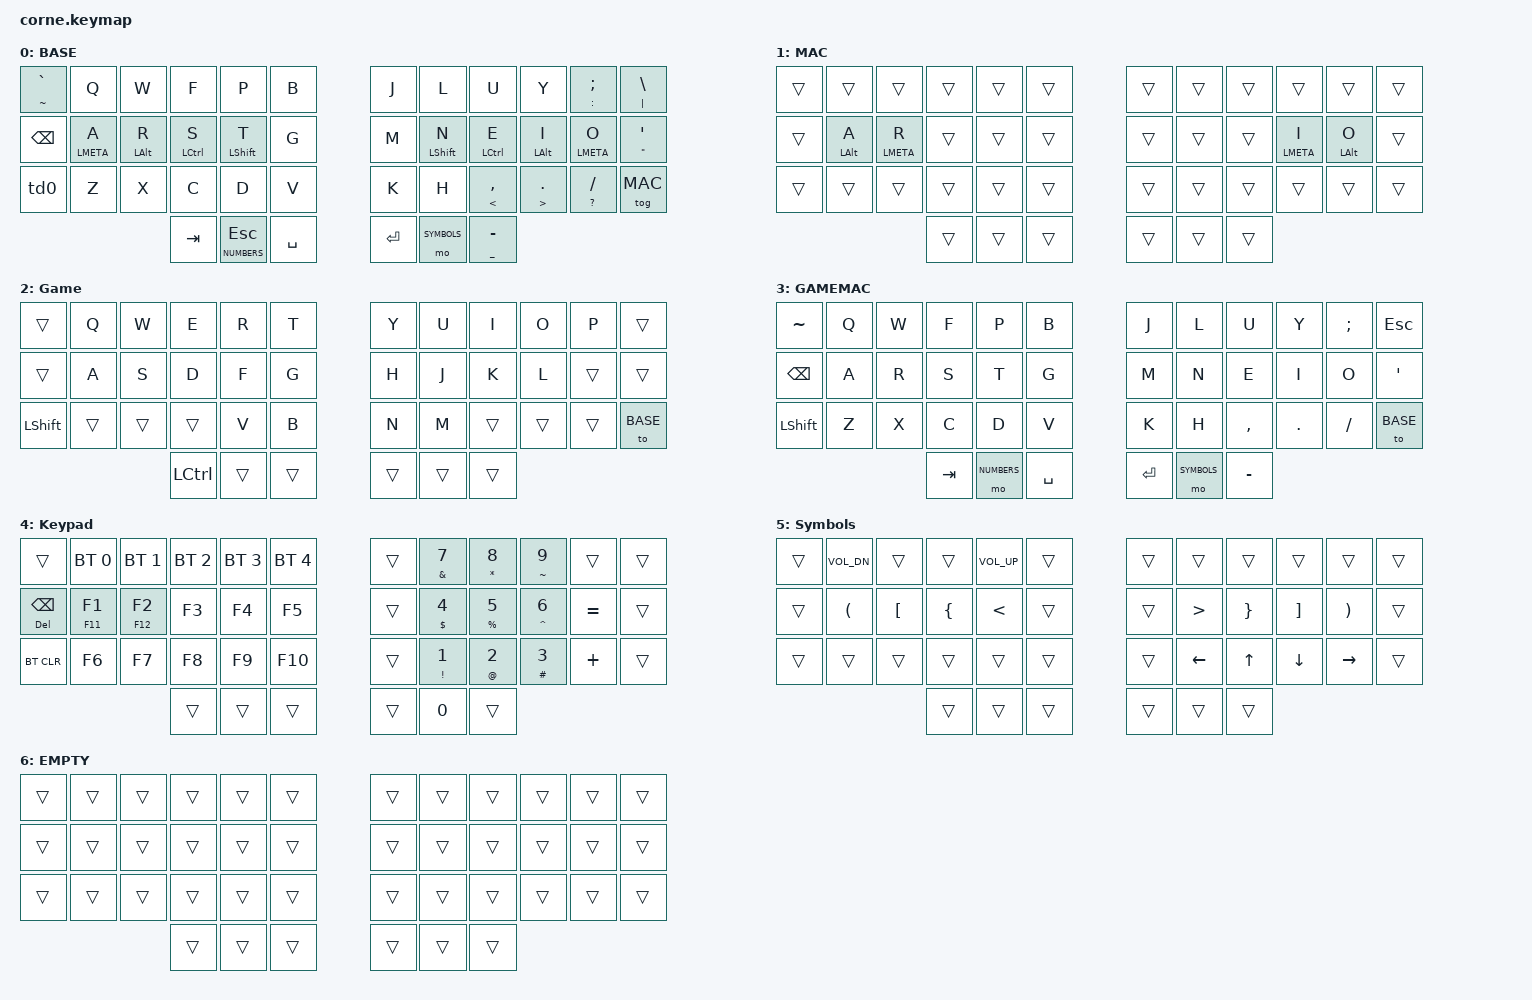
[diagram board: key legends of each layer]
/*
 * Copyright (c) 2020 The ZMK Contributors
 *
 * SPDX-License-Identifier: MIT
 */

#include <behaviors.dtsi>
#include <dt-bindings/zmk/keys.h>
#include <dt-bindings/zmk/bt.h>
#include <dt-bindings/zmk/behaviors.h>

// Define Layers
#define BASE 0
#define MAC 1
#define GAME 2
#define GAMEMAC 3
#define NUMBERS 4
#define SYMBOLS 5


/ {
    behaviors {
        mt: mod_tap {
            compatible = "zmk,behavior-hold-tap";
            #binding-cells = <2>;
            flavor = "balanced";
            tapping-term-ms = <200>;
            bindings = <&kp>, <&kp>;
            display-name = "Mod-Tap";
        };
        lt: layer_tap {
            compatible = "zmk,behavior-hold-tap";
            #binding-cells = <2>;
            flavor = "tap-preferred";
            tapping-term-ms = <200>;
            bindings = <&mo>, <&kp>;
            display-name = "Layer-Tap";
        };
        td0: tap_dance_0 {
            compatible = "zmk,behavior-tap-dance";
            #binding-cells = <0>;
            tapping-term-ms = <200>;
            bindings = <&to GAME>, <&to GAMEMAC>;
        };
    };
};

/ {
        keymap {
                compatible = "zmk,keymap";

                default_layer { // 0
// -----------------------------------------------------------------------------------------
// | GRAVE TILDE |  Q        |  W     |  F       |  P        |  B  |   |  J  |  L         |  U       |  Y      |  :  ;       | \ |  |
// | BKSP        |  LMETA A  | LALT R | LCTRL S  | LSHIFT T  |  G  |   |  M  | LSHIFT N   | LCTRL E  | LALT I  | LMETA O     |  " '  |
// | Layer GAME  |  Z        |  X     |  C       |  D        |  V  |   |  K  |  H         |  < ,     |  > .    |  ?  /       | Layer Mac  |
//                          | TAB | LWR ESC | SPC |                  | ENT | RSE  | _ - |
                        display-name = "BASE";
                        bindings = <
   &mt TILDE GRAVE &kp Q       &kp W      &kp F       &kp P        &kp B   &kp J &kp L        &kp U        &kp Y        &mt COLON SEMI  &mt PIPE BSLH
   &kp BSPC        &mt LMETA A &mt LALT R &mt LCTRL S &mt LSHIFT T &kp G   &kp M &mt LSHIFT N &mt LCTRL E  &mt LALT I   &mt LMETA O     &mt DQT SQT
   &td0            &kp Z       &kp X      &kp C       &kp D        &kp V   &kp K &kp H        &mt LT COMMA &mt GT DOT   &mt QMARK FSLH  &tog MAC
                &kp TAB &lt NUMBERS ESC &kp SPACE                               &kp RET &mo SYMBOLS &mt UNDER MINUS
                        >;
                };

                mac_layer { // 1
// -----------------------------------------------------------------------------------------
// |  |        |         |  |  |  |     |  |  |  |         |            |  |
// |  | LALT A | LMETA R |  |  |  |     |  |  |  | LMETA I | LALT O     |  |
// |  |        |         |  |  |  |     |  |  |  |         |            |  |
//            |  |  |  |                      |  |  |  |
                        display-name = "MAC";
                        bindings = <
   &trans &trans      &trans      &trans &trans &trans &trans &trans &trans &trans      &trans     &trans
   &trans &mt LALT A  &mt LMETA R &trans &trans &trans &trans &trans &trans &mt LMETA I &mt LALT O &trans  
   &trans &trans      &trans      &trans &trans &trans &trans &trans &trans &trans      &trans     &trans
                  &trans &trans &trans                                &trans &trans &trans  
                        >;
                };

                game_layer { // 2
// -----------------------------------------------------------------------------------------
// |  |  |  |  |  |  |      |  |  |  |  |  |  |
// |  |  |  |  |  |  |      |  |  |  |  |  |  |
// |  |  |  |  |  |  |      |  |  |  |  |  |  |
//     |  |  |  |              |  |  |  |
                        display-name = "Game";
                        bindings = <
   &trans     &kp Q  &kp W  &kp E  &kp R &kp T      &kp Y &kp U &kp I &kp O &kp P &trans
   &trans     &kp A  &kp S  &kp D  &kp F &kp G      &kp H &kp J &kp K &kp L &trans &trans
   &kp LSHIFT &trans &trans &trans &kp V &kp B      &kp N &kp M &trans &trans &trans &to BASE
                   &kp LCTRL &trans &trans             &trans &trans &trans
                        >;
                };

                game_layer_colemak { // 3
// -----------------------------------------------------------------------------------------
// | GRAVE TILDE |  Q        |  W     |  F       |  P        |  B  |   |  J  |  L         |  U       |  Y      |  :  ;       | \ |  |
// | BKSP        |  LMETA A  | LALT R | LCTRL S  | LSHIFT T  |  G  |   |  M  | LSHIFT N   | LCTRL E  | LALT I  | LMETA O     |  " '  |
// | Layer GAME  |  Z        |  X     |  C       |  D        |  V  |   |  K  |  H         |  < ,     |  > .    |  ?  /       | Layer Mac  |
//                          | TAB | LWR ESC | SPC |                  | ENT | RSE  | _ - |
                        display-name = "GAMEMAC";
                        bindings = <
   &kp TILDE   &kp Q &kp W &kp F &kp P &kp B   &kp J &kp L &kp U     &kp Y   &kp SEMI  &kp ESC
   &kp BSPC    &kp A &kp R &kp S &kp T &kp G   &kp M &kp N &kp E     &kp I   &kp O     &kp SQT
   &kp LSHIFT  &kp Z &kp X &kp C &kp D &kp V   &kp K &kp H &kp COMMA &kp DOT &kp FSLH  &to BASE
         &kp TAB &mo NUMBERS &kp SPACE                   &kp RET &mo SYMBOLS &kp MINUS
                        >;
                };

                number_layer { // 4
// -----------------------------------------------------------------------------------------
// |   |       |     |     |     |     |      |  | * 7 | & 8 | ~ 9 |  |  |
// |   | BT1   | BT2 | BT3 | BT4 | BT5 |      |  | $ 4 | % 5 | ^ 6 |  |  |
// |   | BTCLR |     |     |     |     |      |  | ! 1 | @ 2 | # 3 |  |  |
//                    |  |  |  |             |  | 0 |  |
                        display-name = "Keypad";
                        bindings = <
   &trans       &bt BT_SEL 0 &bt BT_SEL 1 &bt BT_SEL 2 &bt BT_SEL 3 &bt BT_SEL 4   &trans &mt AMPS N7   &mt ASTRK N8 &mt TILDE N9 &trans    &trans
   &mt DEL BSPC &mt F11 F1   &mt F12 F2   &kp F3       &kp F4       &kp F5         &trans &mt DOLLAR N4 &mt PRCNT N5 &mt CARET N6 &kp EQUAL &trans
   &bt BT_CLR   &kp F6       &kp F7       &kp F8       &kp F9       &kp F10        &trans &mt EXCL N1   &mt AT N2    &mt POUND N3 &kp PLUS  &trans
                          	        &trans     &trans   &trans                 &trans  &kp N0   &trans
                        >;
                };

                symbols_layer {  // 5
// -----------------------------------------------------------------------------------------
// |  |  |  |  |  |  |      |  |  |  |  |  |  |
// |  |  |  |  |  |  |      |  |  |  |  |  |  |
// |  |  |  |  |  |  |      |  |  |  |  |  |  |
//     |  |  |  |              |  |  |  |
                        display-name = "Symbols";
                        bindings = <
   &trans &kp C_VOL_DN &trans   &trans   &kp C_VOL_UP &trans      &trans &trans   &trans   &trans   &trans    &trans
   &trans &kp LPAR     &kp LBKT &kp LBRC &kp LT       &trans      &trans &kp GT   &kp RBRC &kp RBKT &kp RPAR  &trans
   &trans &trans       &trans   &trans   &trans       &trans      &trans &kp LEFT &kp UP   &kp DOWN &kp RIGHT &trans
                     &trans &trans &trans                                   &trans &trans &trans
                        >;
                };


                empty_layer { // 6
// -----------------------------------------------------------------------------------------
// |  |  |  |  |  |  |      |  |  |  |  |  |  |
// |  |  |  |  |  |  |      |  |  |  |  |  |  |
// |  |  |  |  |  |  |      |  |  |  |  |  |  |
//     |  |  |  |              |  |  |  |
                        display-name = "EMPTY";
                        bindings = <
   &trans &trans &trans &trans &trans &trans      &trans &trans &trans &trans &trans &trans
   &trans &trans &trans &trans &trans &trans      &trans &trans &trans &trans &trans &trans
   &trans &trans &trans &trans &trans &trans      &trans &trans &trans &trans &trans &trans
                     &trans &trans &trans           &trans &trans &trans
                        >;
                };
        };
};
